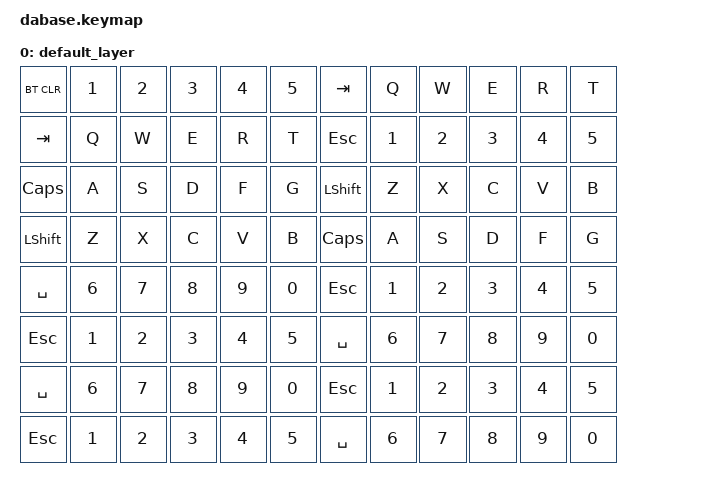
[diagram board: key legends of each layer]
#include <behaviors.dtsi>
#include <dt-bindings/zmk/keys.h>
#include <dt-bindings/zmk/bt.h>

/ {
    keymap {
        compatible = "zmk,keymap";
        label = "dabase-unified";

        default_layer {
            bindings = <
                &bt BT_CLR  &kp N1 &kp N2 &kp N3 &kp N4 &kp N5   &kp TAB  &kp Q  &kp W  &kp E  &kp R  &kp T
                &kp TAB     &kp Q  &kp W  &kp E  &kp R  &kp T    &kp ESC  &kp N1 &kp N2 &kp N3 &kp N4 &kp N5
                &kp CAPS    &kp A  &kp S  &kp D  &kp F  &kp G    &kp LSHFT &kp Z &kp X  &kp C  &kp V  &kp B
                &kp LSHFT   &kp Z &kp X  &kp C  &kp V  &kp B    &kp CAPS &kp A  &kp S  &kp D  &kp F  &kp G
                &kp SPC     &kp N6 &kp N7 &kp N8 &kp N9 &kp N0   &kp ESC  &kp N1 &kp N2 &kp N3 &kp N4 &kp N5
                &kp ESC     &kp N1 &kp N2 &kp N3 &kp N4 &kp N5   &kp SPC  &kp N6 &kp N7 &kp N8 &kp N9 &kp N0
                &kp SPC     &kp N6 &kp N7 &kp N8 &kp N9 &kp N0   &kp ESC  &kp N1 &kp N2 &kp N3 &kp N4 &kp N5
                &kp ESC     &kp N1 &kp N2 &kp N3 &kp N4 &kp N5   &kp SPC  &kp N6 &kp N7 &kp N8 &kp N9 &kp N0
            >;
        };
    };
};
